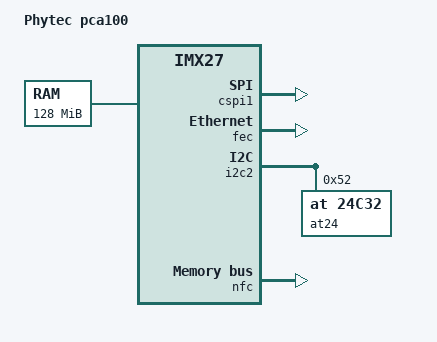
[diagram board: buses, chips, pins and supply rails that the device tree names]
/*
 * Copyright 2012 Sascha Hauer, Uwe Kleine-König, Steffen Trumtrar
 * and Markus Pargmann, Pengutronix
 *
 * The code contained herein is licensed under the GNU General Public
 * License. You may obtain a copy of the GNU General Public License
 * Version 2 or later at the following locations:
 *
 * http://www.opensource.org/licenses/gpl-license.html
 * http://www.gnu.org/copyleft/gpl.html
 */

/dts-v1/;
#include "imx27.dtsi"

/ {
	model = "Phytec pca100";
	compatible = "phytec,imx27-pca100", "fsl,imx27";

	chosen {
		linux,stdout-path = &uart1;

		environment@0 {
			compatible = "barebox,environment";
			device-path = &nfc, "partname:environment";
		};
	};

	memory {
		reg = <0xa0000000 0x08000000>; /* 128MB */
	};
};

&cspi1 {
	fsl,spi-num-chipselects = <2>;
	cs-gpios = <&gpio4 28 GPIO_ACTIVE_HIGH>,
		   <&gpio4 27 GPIO_ACTIVE_HIGH>;
	status = "okay";
};

&iomuxc {
	imx27-phycard-s-som {
		pinctrl_fec1: fec1grp {
			fsl,pins = <MX27_FEC1_PINGRP1>;
		};

		pinctrl_i2c2: i2c2grp {
			fsl,pins = <MX27_I2C2_PINGRP1>;
		};

		pinctrl_nfc: nfcgrp {
			fsl,pins = <MX27_NFC_PINGRP1>;
		};
	};
};

&fec {
	pinctrl-names = "default";
	pinctrl-0 = <&pinctrl_fec1>;
	status = "okay";
};

&i2c2 {
	pinctrl-names = "default";
	pinctrl-0 = <&pinctrl_i2c2>;
	status = "okay";

	at24@52 {
		compatible = "at,24c32";
		pagesize = <32>;
		reg = <0x52>;
	};
};

&nfc {
	pinctrl-names = "default";
	pinctrl-0 = <&pinctrl_nfc>;
	nand-bus-width = <8>;
	nand-ecc-mode = "hw";
	nand-on-flash-bbt;
	status = "okay";

	partition@0 {
		label = "boot";
		reg = <0x0 0x80000>;
	};

	partition@1 {
		label = "environment";
		reg = <0x80000 0x80000>;
	};

	partition@2 {
		label = "kernel";
		reg = <0x100000 0x400000>;
	};

	partition@3 {
		label = "root";
		reg = <0x500000 0x7b00000>;
	};
};
